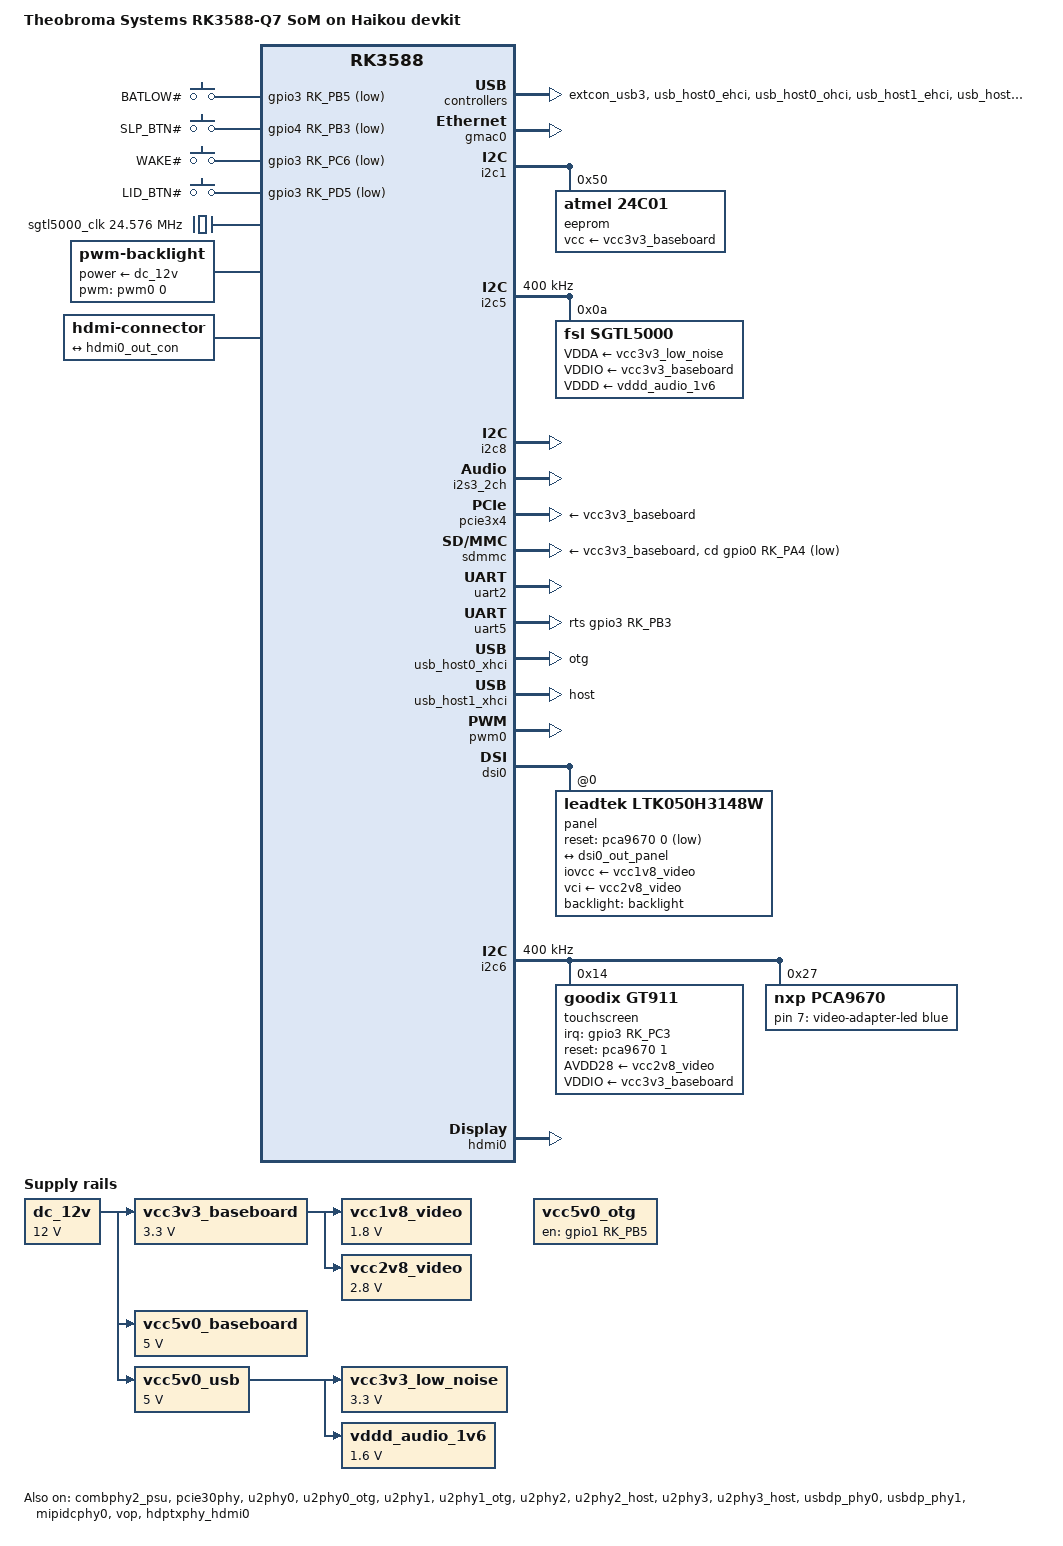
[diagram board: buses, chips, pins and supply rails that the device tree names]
// SPDX-License-Identifier: (GPL-2.0+ OR MIT)
/*
 * Copyright (c) 2023 Theobroma Systems Design und Consulting GmbH
 */

/dts-v1/;
#include <dt-bindings/input/input.h>
#include <dt-bindings/soc/rockchip,vop2.h>
#include "rk3588-tiger.dtsi"

/ {
	model = "Theobroma Systems RK3588-Q7 SoM on Haikou devkit";
	compatible = "tsd,rk3588-tiger-haikou", "tsd,rk3588-tiger", "rockchip,rk3588";

	aliases {
		ethernet0 = &gmac0;
		mmc1 = &sdmmc;
	};

	chosen {
		stdout-path = "serial2:115200n8";
	};

	dc_12v: dc-12v-regulator {
		compatible = "regulator-fixed";
		regulator-name = "dc_12v";
		regulator-always-on;
		regulator-boot-on;
		regulator-min-microvolt = <12000000>;
		regulator-max-microvolt = <12000000>;
	};

	gpio-keys {
		compatible = "gpio-keys";
		pinctrl-names = "default";
		pinctrl-0 = <&haikou_keys_pin>;

		button-batlow-n {
			label = "BATLOW#";
			linux,code = <KEY_BATTERY>;
			gpios = <&gpio3 RK_PB5 GPIO_ACTIVE_LOW>;
		};

		button-slp-btn-n {
			label = "SLP_BTN#";
			linux,code = <KEY_SLEEP>;
			gpios = <&gpio4 RK_PB3 GPIO_ACTIVE_LOW>;
		};

		button-wake-n {
			label = "WAKE#";
			linux,code = <KEY_WAKEUP>;
			gpios = <&gpio3 RK_PC6 GPIO_ACTIVE_LOW>;
			wakeup-source;
		};

		switch-lid-btn-n {
			label = "LID_BTN#";
			linux,code = <SW_LID>;
			linux,input-type = <EV_SW>;
			gpios = <&gpio3 RK_PD5 GPIO_ACTIVE_LOW>;
		};
	};

	i2s3-sound {
		compatible = "simple-audio-card";
		simple-audio-card,format = "i2s";
		simple-audio-card,name = "Haikou,I2S-codec";
		simple-audio-card,mclk-fs = <512>;
		simple-audio-card,frame-master = <&sgtl5000_codec>;
		simple-audio-card,bitclock-master = <&sgtl5000_codec>;

		sgtl5000_codec: simple-audio-card,codec {
			sound-dai = <&sgtl5000>;
		};

		simple-audio-card,cpu {
			sound-dai = <&i2s3_2ch>;
		};
	};

	sgtl5000_clk: sgtl5000-oscillator  {
		compatible = "fixed-clock";
		#clock-cells = <0>;
		clock-frequency = <24576000>;
	};

	vcc3v3_baseboard: vcc3v3-baseboard-regulator {
		compatible = "regulator-fixed";
		regulator-name = "vcc3v3_baseboard";
		regulator-always-on;
		regulator-boot-on;
		regulator-min-microvolt = <3300000>;
		regulator-max-microvolt = <3300000>;
		vin-supply = <&dc_12v>;
	};

	vcc3v3_low_noise: vcc3v3-low-noise-regulator {
		compatible = "regulator-fixed";
		regulator-name = "vcc3v3_low_noise";
		regulator-boot-on;
		regulator-min-microvolt = <3300000>;
		regulator-max-microvolt = <3300000>;
		vin-supply = <&vcc5v0_usb>;
	};

	vcc5v0_baseboard: vcc5v0-baseboard-regulator {
		compatible = "regulator-fixed";
		regulator-name = "vcc5v0_baseboard";
		regulator-always-on;
		regulator-boot-on;
		regulator-min-microvolt = <5000000>;
		regulator-max-microvolt = <5000000>;
		vin-supply = <&dc_12v>;
	};

	vcc5v0_otg: vcc5v0-otg-regulator {
		compatible = "regulator-fixed";
		enable-active-high;
		gpio = <&gpio1 RK_PB5 GPIO_ACTIVE_HIGH>;
		pinctrl-names = "default";
		pinctrl-0 = <&otg_vbus_drv>;
		regulator-name = "vcc5v0_otg";
		regulator-always-on;
	};

	vcc5v0_usb: vcc5v0-usb-regulator {
		compatible = "regulator-fixed";
		regulator-name = "vcc5v0_usb";
		regulator-always-on;
		regulator-boot-on;
		regulator-min-microvolt = <5000000>;
		regulator-max-microvolt = <5000000>;
		vin-supply = <&dc_12v>;
	};

	vddd_audio_1v6: vddd-audio-1v6-regulator {
		compatible = "regulator-fixed";
		regulator-name = "vddd_audio_1v6";
		regulator-boot-on;
		regulator-min-microvolt = <1600000>;
		regulator-max-microvolt = <1600000>;
		vin-supply = <&vcc5v0_usb>;
	};
};

&combphy2_psu {
	status = "okay";
};

&extcon_usb3 {
	status = "okay";
};

&gmac0 {
	status = "okay";
};

&i2c1 {
	status = "okay";

	eeprom@50 {
		reg = <0x50>;
		compatible = "atmel,24c01";
		pagesize = <8>;
		size = <128>;
		vcc-supply = <&vcc3v3_baseboard>;
	};
};

&i2c5 {
	clock-frequency = <400000>;
	status = "okay";

	sgtl5000: codec@a {
		compatible = "fsl,sgtl5000";
		reg = <0x0a>;
		clocks = <&sgtl5000_clk>;
		#sound-dai-cells = <0>;
		VDDA-supply = <&vcc3v3_low_noise>;
		VDDIO-supply = <&vcc3v3_baseboard>;
		VDDD-supply = <&vddd_audio_1v6>;
	};
};

&i2c8 {
	status = "okay";
};

&i2s3_2ch {
	status = "okay";
};

&pcie30phy {
	status = "okay";
};

&pcie3x4 {
	vpcie3v3-supply = <&vcc3v3_baseboard>;
	status = "okay";
};

&pinctrl {
	haikou {
		haikou_keys_pin: haikou-keys-pin {
			rockchip,pins =
				/* BATLOW# */
				<3 RK_PB5 RK_FUNC_GPIO &pcfg_pull_up>,
				/* SLP_BTN# */
				<4 RK_PB3 RK_FUNC_GPIO &pcfg_pull_up>,
				/* WAKE# */
				<3 RK_PC6 RK_FUNC_GPIO &pcfg_pull_up>,
				/* LID_BTN */
				<3 RK_PD5 RK_FUNC_GPIO &pcfg_pull_up>;
		};
	};

	usb2 {
		otg_vbus_drv: otg-vbus-drv {
			rockchip,pins =
			  <1 RK_PB5 RK_FUNC_GPIO &pcfg_pull_none>;
		};
	};
};

&sdmmc {
	/* while the same pin, sdmmc_det does not detect card changes */
	cd-gpios = <&gpio0 RK_PA4 GPIO_ACTIVE_LOW>;
	disable-wp;
	pinctrl-0 = <&sdmmc_bus4 &sdmmc_cmd &sdmmc_clk>;
	sd-uhs-sdr12;
	sd-uhs-sdr25;
	sd-uhs-sdr50;
	sd-uhs-sdr104;
	vmmc-supply = <&vcc3v3_baseboard>;
	status = "okay";
};

&u2phy0 {
	status = "okay";
};

&u2phy0_otg {
	phy-supply = <&vcc5v0_otg>;
	status = "okay";
};

&u2phy1 {
	status = "okay";
};

&u2phy1_otg {
	status = "okay";
};

&u2phy2 {
	status = "okay";
};

&u2phy2_host {
	status = "okay";
};

&u2phy3 {
	status = "okay";
};

&u2phy3_host {
	status = "okay";
};

&uart2 {
	status = "okay";
};

&uart5 {
	rts-gpios = <&gpio3 RK_PB3 GPIO_ACTIVE_HIGH>;
};

&usbdp_phy0 {
	status = "okay";
};

&usbdp_phy1 {
	status = "okay";
};

/* host0 on Q7_USB_P2, upper usb3 port */
&usb_host0_ehci {
	status = "okay";
};

/* host0 on Q7_USB_P2, upper usb3 port */
&usb_host0_ohci {
	status = "okay";
};

/* host0_xhci on Q7_USB_P1, usb3-otg port */
&usb_host0_xhci {
	dr_mode = "otg";
	extcon = <&extcon_usb3>;
	status = "okay";
};

/* host1 on Q7_USB_P3, usb2 port */
&usb_host1_ehci {
	status = "okay";
};

/* host1 on Q7_USB_P3, usb2 port */
&usb_host1_ohci {
	status = "okay";
};

/* host1_xhci on Q7_USB_P0, lower usb3 port */
&usb_host1_xhci {
	dr_mode = "host";
	status = "okay";
};

/* host2 on Q7_USB_P2, upper usb3 port */
&usb_host2_xhci {
	status = "okay";
};

/******** video adapter *********/

/ {
	video-adapter-leds {
		compatible = "gpio-leds";
		status = "okay";

		video-adapter-led {
			label = "video-adapter-led";
			gpios = <&pca9670 7 GPIO_ACTIVE_HIGH>;
			linux,default-trigger = "none";
			color = <LED_COLOR_ID_BLUE>;
		};
	};

	backlight: backlight {
		compatible = "pwm-backlight";
		power-supply = <&dc_12v>;
		pwms = <&pwm0 0 25000 0>;
	};

	hdmi-con {
		compatible = "hdmi-connector";
		type = "a";

		port {
			hdmi_con_in: endpoint {
				remote-endpoint = <&hdmi0_out_con>;
			};
		};
	};

	vcc1v8_video: vcc1v8-video-regulator {
		compatible = "regulator-fixed";
		regulator-name = "vcc1v8-video";
		regulator-always-on;
		regulator-boot-on;
		regulator-min-microvolt = <1800000>;
		regulator-max-microvolt = <1800000>;
		vin-supply = <&vcc3v3_baseboard>;
	};

	vcc2v8_video: vcc2v8-video-regulator {
		compatible = "regulator-fixed";
		regulator-name = "vcc2v8-video";
		regulator-always-on;
		regulator-boot-on;
		regulator-min-microvolt = <2800000>;
		regulator-max-microvolt = <2800000>;
		vin-supply = <&vcc3v3_baseboard>;
	};
};

&pwm0 {
	pinctrl-0 = <&pwm0m1_pins>;
	pinctrl-names = "default";
	status = "okay";
};

&mipidcphy0 {
	status = "okay";
};

&dsi0 {
	status = "okay";

	panel@0 {
		compatible = "leadtek,ltk050h3148w";
		reg = <0>;
		backlight = <&backlight>;
		iovcc-supply = <&vcc1v8_video>;
		vci-supply = <&vcc2v8_video>;
		reset-gpios = <&pca9670 0 GPIO_ACTIVE_LOW>;

		port {
			mipi_panel_in: endpoint {
				remote-endpoint = <&dsi0_out_panel>;
			};
		};
	};
};

&dsi0_in {
	dsi0_in_vp3: endpoint {
		remote-endpoint = <&vp3_out_dsi0>;
	};
};

&dsi0_out {
	dsi0_out_panel: endpoint {
		remote-endpoint = <&mipi_panel_in>;
	};
};

&vp3 {
	vp3_out_dsi0: endpoint@ROCKCHIP_VOP2_EP_MIPI0 {
		reg = <ROCKCHIP_VOP2_EP_MIPI0>;
		remote-endpoint = <&dsi0_in_vp3>;
	};
};

&i2c6 {
	/* OV5675, GT911, DW9714 are limited to 400KHz */
	clock-frequency = <400000>;

	touchscreen@14 {
		compatible = "goodix,gt911";
		reg = <0x14>;
		interrupt-parent = <&gpio3>;
		interrupts = <RK_PC3 IRQ_TYPE_LEVEL_LOW>;
		irq-gpios = <&gpio3 RK_PC3 GPIO_ACTIVE_HIGH>;
		reset-gpios = <&pca9670 1 GPIO_ACTIVE_HIGH>;
		AVDD28-supply = <&vcc2v8_video>;
		VDDIO-supply = <&vcc3v3_baseboard>;
		pinctrl-0 = <&touch_int>;
		pinctrl-names = "default";
	};

	pca9670: gpio@27 {
		compatible = "nxp,pca9670";
		reg = <0x27>;
		gpio-controller;
		#gpio-cells = <2>;
	};
};

&pinctrl {
	touch {
		touch_int: touch-int {
			rockchip,pins = <3 RK_PC3 RK_FUNC_GPIO &pcfg_pull_none>;
		};
	};
};

&vop {
	status = "okay";
};

&vop_mmu {
	status = "okay";
};

/* from jaguar
*/
&hdmi0 {
	/* no CEC on Haikou */
	pinctrl-names = "default";
	pinctrl-0 = <&hdmim0_tx0_hpd &hdmim1_tx0_scl &hdmim1_tx0_sda>;
	status = "okay";
};

&hdptxphy_hdmi0 {
	status = "okay";
};

&hdmi0_in {
	hdmi0_in_vp1: endpoint {
		remote-endpoint = <&vp1_out_hdmi0>;
	};
};

&hdmi0_out {
	hdmi0_out_con: endpoint {
		remote-endpoint = <&hdmi_con_in>;
	};
};

&vp1 {
	vp1_out_hdmi0: endpoint@ROCKCHIP_VOP2_EP_HDMI0 {
		reg = <ROCKCHIP_VOP2_EP_HDMI0>;
		remote-endpoint = <&hdmi0_in_vp1>;
	};
};
